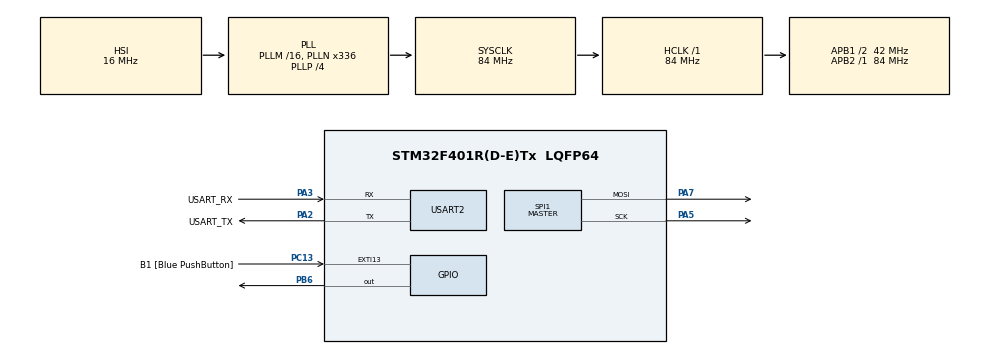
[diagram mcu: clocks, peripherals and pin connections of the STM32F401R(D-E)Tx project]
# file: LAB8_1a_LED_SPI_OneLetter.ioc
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Mcu.Family=STM32F4
Mcu.Name=STM32F401R(D-E)Tx
Mcu.Package=LQFP64
NVIC.PriorityGroup=NVIC_PRIORITYGROUP_0
NVIC.TIM2_IRQn=true\:0\:0\:false\:false\:true\:true\:true\:true
PA13.GPIO_Label=TMS
PA13.Mode=Serial_Wire
PA13.Signal=SYS_JTMS-SWDIO
PA14.GPIO_Label=TCK
PA14.Mode=Serial_Wire
PA14.Signal=SYS_JTCK-SWCLK
PA2.GPIO_Label=USART_TX
PA2.GPIO_Mode=GPIO_MODE_AF_PP
PA2.GPIO_PuPd=GPIO_NOPULL
PA2.GPIO_Speed=GPIO_SPEED_FREQ_LOW
PA2.Mode=Asynchronous
PA2.Signal=USART2_TX
PA3.GPIO_Label=USART_RX
PA3.GPIO_Mode=GPIO_MODE_AF_PP
PA3.GPIO_PuPd=GPIO_NOPULL
PA3.GPIO_Speed=GPIO_SPEED_FREQ_LOW
PA3.Mode=Asynchronous
PA3.Signal=USART2_RX
PA5.Mode=TX_Only_Simplex_Unidirect_Master
PA5.Signal=SPI1_SCK
PA6.Signal=SPI1_MISO
PA7.Mode=TX_Only_Simplex_Unidirect_Master
PA7.Signal=SPI1_MOSI
PB3.GPIO_Label=SWO
PB3.Signal=SYS_JTDO-SWO
PB6.Signal=GPIO_Output
PC13-ANTI_TAMP.GPIO_Label=B1 [Blue PushButton]
PC13-ANTI_TAMP.GPIO_ModeDefaultEXTI=GPIO_MODE_IT_FALLING
PC13-ANTI_TAMP.GPIO_PuPd=GPIO_NOPULL
PC13-ANTI_TAMP.Signal=GPXTI13
PC14-OSC32_IN.Mode=LSE-External-Oscillator
PC14-OSC32_IN.Signal=RCC_OSC32_IN
PC15-OSC32_OUT.Mode=LSE-External-Oscillator
PC15-OSC32_OUT.Signal=RCC_OSC32_OUT
PH0\ -\ OSC_IN.Mode=HSE-External-Clock-Source
PH0\ -\ OSC_IN.Signal=RCC_OSC_IN
PH1\ -\ OSC_OUT.Mode=HSE-External-Clock-Source
PH1\ -\ OSC_OUT.Signal=RCC_OSC_OUT
ProjectManager.HeapSize=0x200
ProjectManager.StackSize=0x400
ProjectManager.TargetToolchain=STM32CubeIDE
RCC.48MHZClocksFreq_Value=48000000
RCC.AHBFreq_Value=84000000
RCC.APB1CLKDivider=RCC_HCLK_DIV2
RCC.APB1Freq_Value=42000000
RCC.APB1TimFreq_Value=84000000
RCC.APB2Freq_Value=84000000
RCC.APB2TimFreq_Value=84000000
RCC.CortexFreq_Value=84000000
RCC.HCLKFreq_Value=84000000
RCC.HSE_VALUE=8000000
RCC.HSI_VALUE=16000000
RCC.PLLN=336
RCC.PLLP=RCC_PLLP_DIV4
RCC.PLLQ=7
RCC.SYSCLKFreq_VALUE=84000000
RCC.SYSCLKSource=RCC_SYSCLKSOURCE_PLLCLK
RCC.VCOOutputFreq_Value=336000000
SPI1.BaudRatePrescaler=SPI_BAUDRATEPRESCALER_4
SPI1.Direction=SPI_DIRECTION_2LINES
SPI1.Mode=SPI_MODE_MASTER
SPI1.VirtualType=VM_MASTER
TIM2.Period=4000-1
TIM2.Prescaler=84-1
USART2.VirtualMode=VM_ASYNC
VP_TIM2_VS_ClockSourceINT.Mode=Internal
board=NUCLEO-F401RE

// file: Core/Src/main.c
/* USER CODE BEGIN Header */
/**
  ******************************************************************************
  * @file           : main.c
  * @brief          : Main program body
  ******************************************************************************
  * @attention
  *
  * Copyright (c) 2022 STMicroelectronics.
  * All rights reserved.
  *
  * This software is licensed under terms that can be found in the LICENSE file
  * in the root directory of this software component.
  * If no LICENSE file comes with this software, it is provided AS-IS.
  *
  ******************************************************************************
  */
/* USER CODE END Header */
#include "main.h"

/* USER CODE BEGIN PD */
#define COL1 1
#define COL2 2
#define COL3 4
#define COL4 8
#define COL5 16
/* USER CODE END PD */

SPI_HandleTypeDef hspi1;

TIM_HandleTypeDef htim2;

UART_HandleTypeDef huart2;

void SystemClock_Config(void);
static void MX_GPIO_Init(void);
static void MX_USART2_UART_Init(void);
static void MX_SPI1_Init(void);
static void MX_TIM2_Init(void);

/* USER CODE BEGIN 0 */
int count;

struct charMatrix{
	uint8_t row;
	uint8_t col;
};

struct charMatrix letter[] = {
	{31,COL1},
	{36,COL2},
	{68,COL3},
	{36,COL4},
	{31,COL5}
};

void HAL_TIM_PeriodElapsedCallback(TIM_HandleTypeDef* htim){
	if(htim == &htim2){

		HAL_SPI_Transmit(&hspi1, &letter[count], 2, 50);

		//Pulse RCLK
		HAL_GPIO_WritePin(GPIOB, GPIO_PIN_6, 1);

		if(count == 4){
			count = 0;
		}
		else count ++;
	}
	//end of RCLK pulse
	HAL_GPIO_WritePin(GPIOB, GPIO_PIN_6, 0);

	HAL_TIM_Base_Start_IT(&htim2);
}

/* USER CODE END 0 */

int main(void)
{

  /* MCU Configuration--------------------------------------------------------*/

  /* Reset of all peripherals, Initializes the Flash interface and the Systick. */
  HAL_Init();

  /* Configure the system clock */
  SystemClock_Config();

  /* Initialize all configured peripherals */
  MX_GPIO_Init();
  MX_USART2_UART_Init();
  MX_SPI1_Init();
  MX_TIM2_Init();
  /* USER CODE BEGIN 2 */
  count = 0;
  HAL_TIM_Base_Start_IT(&htim2);
  /* USER CODE END 2 */

  /* Infinite loop */
  while (1)
  {

  }
}

void SystemClock_Config(void)
{
  RCC_OscInitTypeDef RCC_OscInitStruct = {0};
  RCC_ClkInitTypeDef RCC_ClkInitStruct = {0};

  /** Configure the main internal regulator output voltage
  */
  __HAL_RCC_PWR_CLK_ENABLE();
  __HAL_PWR_VOLTAGESCALING_CONFIG(PWR_REGULATOR_VOLTAGE_SCALE2);

  /** Initializes the RCC Oscillators according to the specified parameters
  * in the RCC_OscInitTypeDef structure.
  */
  RCC_OscInitStruct.OscillatorType = RCC_OSCILLATORTYPE_HSI;
  RCC_OscInitStruct.HSIState = RCC_HSI_ON;
  RCC_OscInitStruct.HSICalibrationValue = RCC_HSICALIBRATION_DEFAULT;
  RCC_OscInitStruct.PLL.PLLState = RCC_PLL_ON;
  RCC_OscInitStruct.PLL.PLLSource = RCC_PLLSOURCE_HSI;
  RCC_OscInitStruct.PLL.PLLM = 16;
  RCC_OscInitStruct.PLL.PLLN = 336;
  RCC_OscInitStruct.PLL.PLLP = RCC_PLLP_DIV4;
  RCC_OscInitStruct.PLL.PLLQ = 7;
  if (HAL_RCC_OscConfig(&RCC_OscInitStruct) != HAL_OK)
  {
    Error_Handler();
  }

  /** Initializes the CPU, AHB and APB buses clocks
  */
  RCC_ClkInitStruct.ClockType = RCC_CLOCKTYPE_HCLK|RCC_CLOCKTYPE_SYSCLK
                              |RCC_CLOCKTYPE_PCLK1|RCC_CLOCKTYPE_PCLK2;
  RCC_ClkInitStruct.SYSCLKSource = RCC_SYSCLKSOURCE_PLLCLK;
  RCC_ClkInitStruct.AHBCLKDivider = RCC_SYSCLK_DIV1;
  RCC_ClkInitStruct.APB1CLKDivider = RCC_HCLK_DIV2;
  RCC_ClkInitStruct.APB2CLKDivider = RCC_HCLK_DIV1;

  if (HAL_RCC_ClockConfig(&RCC_ClkInitStruct, FLASH_LATENCY_2) != HAL_OK)
  {
    Error_Handler();
  }
}

static void MX_SPI1_Init(void)
{

  /* SPI1 parameter configuration*/
  hspi1.Instance = SPI1;
  hspi1.Init.Mode = SPI_MODE_MASTER;
  hspi1.Init.Direction = SPI_DIRECTION_2LINES;
  hspi1.Init.DataSize = SPI_DATASIZE_8BIT;
  hspi1.Init.CLKPolarity = SPI_POLARITY_LOW;
  hspi1.Init.CLKPhase = SPI_PHASE_1EDGE;
  hspi1.Init.NSS = SPI_NSS_SOFT;
  hspi1.Init.BaudRatePrescaler = SPI_BAUDRATEPRESCALER_4;
  hspi1.Init.FirstBit = SPI_FIRSTBIT_MSB;
  hspi1.Init.TIMode = SPI_TIMODE_DISABLE;
  hspi1.Init.CRCCalculation = SPI_CRCCALCULATION_DISABLE;
  hspi1.Init.CRCPolynomial = 10;
  if (HAL_SPI_Init(&hspi1) != HAL_OK)
  {
    Error_Handler();
  }

}

static void MX_TIM2_Init(void)
{

  TIM_ClockConfigTypeDef sClockSourceConfig = {0};
  TIM_MasterConfigTypeDef sMasterConfig = {0};

  htim2.Instance = TIM2;
  htim2.Init.Prescaler = 84-1;
  htim2.Init.CounterMode = TIM_COUNTERMODE_UP;
  htim2.Init.Period = 4000-1;
  htim2.Init.ClockDivision = TIM_CLOCKDIVISION_DIV1;
  htim2.Init.AutoReloadPreload = TIM_AUTORELOAD_PRELOAD_DISABLE;
  if (HAL_TIM_Base_Init(&htim2) != HAL_OK)
  {
    Error_Handler();
  }
  sClockSourceConfig.ClockSource = TIM_CLOCKSOURCE_INTERNAL;
  if (HAL_TIM_ConfigClockSource(&htim2, &sClockSourceConfig) != HAL_OK)
  {
    Error_Handler();
  }
  sMasterConfig.MasterOutputTrigger = TIM_TRGO_RESET;
  sMasterConfig.MasterSlaveMode = TIM_MASTERSLAVEMODE_DISABLE;
  if (HAL_TIMEx_MasterConfigSynchronization(&htim2, &sMasterConfig) != HAL_OK)
  {
    Error_Handler();
  }

}

static void MX_USART2_UART_Init(void)
{

  huart2.Instance = USART2;
  huart2.Init.BaudRate = 115200;
  huart2.Init.WordLength = UART_WORDLENGTH_8B;
  huart2.Init.StopBits = UART_STOPBITS_1;
  huart2.Init.Parity = UART_PARITY_NONE;
  huart2.Init.Mode = UART_MODE_TX_RX;
  huart2.Init.HwFlowCtl = UART_HWCONTROL_NONE;
  huart2.Init.OverSampling = UART_OVERSAMPLING_16;
  if (HAL_UART_Init(&huart2) != HAL_OK)
  {
    Error_Handler();
  }

}

static void MX_GPIO_Init(void)
{
  GPIO_InitTypeDef GPIO_InitStruct = {0};

  /* GPIO Ports Clock Enable */
  __HAL_RCC_GPIOC_CLK_ENABLE();
  __HAL_RCC_GPIOH_CLK_ENABLE();
  __HAL_RCC_GPIOA_CLK_ENABLE();
  __HAL_RCC_GPIOB_CLK_ENABLE();

  /*Configure GPIO pin Output Level */
  HAL_GPIO_WritePin(GPIOB, GPIO_PIN_6, GPIO_PIN_RESET);

  /*Configure GPIO pin : B1_Pin */
  GPIO_InitStruct.Pin = B1_Pin;
  GPIO_InitStruct.Mode = GPIO_MODE_IT_FALLING;
  GPIO_InitStruct.Pull = GPIO_NOPULL;
  HAL_GPIO_Init(B1_GPIO_Port, &GPIO_InitStruct);

  /*Configure GPIO pin : PB6 */
  GPIO_InitStruct.Pin = GPIO_PIN_6;
  GPIO_InitStruct.Mode = GPIO_MODE_OUTPUT_PP;
  GPIO_InitStruct.Pull = GPIO_NOPULL;
  GPIO_InitStruct.Speed = GPIO_SPEED_FREQ_LOW;
  HAL_GPIO_Init(GPIOB, &GPIO_InitStruct);

}

void Error_Handler(void)
{
  __disable_irq();
  while (1)
  {
  }
}
